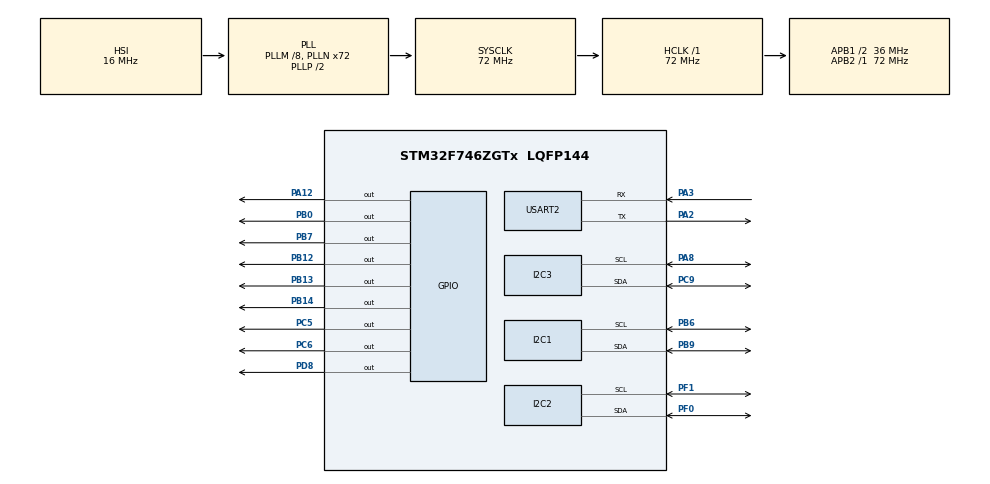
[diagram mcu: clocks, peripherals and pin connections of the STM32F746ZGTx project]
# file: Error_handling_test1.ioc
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I2C1.Timing=0x00808CD2
I2C2.Timing=0x00808CD2
I2C3.Timing=0x00808CD2
Mcu.Family=STM32F7
Mcu.Name=STM32F746ZGTx
Mcu.Package=LQFP144
NVIC.I2C1_ER_IRQn=true\:0\:0\:false\:false\:true\:true\:true
NVIC.I2C1_EV_IRQn=true\:0\:0\:false\:false\:true\:true\:true
NVIC.I2C2_ER_IRQn=true\:0\:0\:false\:false\:true\:true\:true
NVIC.I2C2_EV_IRQn=true\:0\:0\:false\:false\:true\:true\:true
NVIC.I2C3_ER_IRQn=true\:0\:0\:false\:false\:true\:true\:true
NVIC.I2C3_EV_IRQn=true\:0\:0\:false\:false\:true\:true\:true
NVIC.PriorityGroup=NVIC_PRIORITYGROUP_4
NVIC.TIM2_IRQn=true\:2\:0\:true\:false\:true\:true\:true
NVIC.TIM3_IRQn=true\:1\:0\:true\:false\:true\:true\:true
NVIC.USART2_IRQn=true\:0\:0\:false\:false\:true\:true\:true
PA12.Signal=GPIO_Output
PA13.Mode=Serial_Wire
PA13.Signal=SYS_JTMS-SWDIO
PA14.Mode=Serial_Wire
PA14.Signal=SYS_JTCK-SWCLK
PA2.Mode=Asynchronous
PA2.Signal=USART2_TX
PA3.Mode=Asynchronous
PA3.Signal=USART2_RX
PA8.Mode=I2C
PA8.Signal=I2C3_SCL
PB0.Signal=GPIO_Output
PB12.Signal=GPIO_Output
PB13.Signal=GPIO_Output
PB14.Signal=GPIO_Output
PB6.GPIO_Pu=GPIO_PULLUP
PB6.Mode=I2C
PB6.Signal=I2C1_SCL
PB7.Signal=GPIO_Output
PB9.GPIO_Pu=GPIO_PULLUP
PB9.Mode=I2C
PB9.Signal=I2C1_SDA
PC5.Signal=GPIO_Output
PC6.Signal=GPIO_Output
PC9.Mode=I2C
PC9.Signal=I2C3_SDA
PD8.Signal=GPIO_Output
PF0.Mode=I2C
PF0.Signal=I2C2_SDA
PF1.Mode=I2C
PF1.Signal=I2C2_SCL
ProjectManager.HeapSize=0x200
ProjectManager.StackSize=0x400
ProjectManager.TargetToolchain=STM32CubeIDE
RCC.48MHZClocksFreq_Value=24000000
RCC.AHBFreq_Value=72000000
RCC.APB1CLKDivider=RCC_HCLK_DIV2
RCC.APB1Freq_Value=36000000
RCC.APB1TimFreq_Value=72000000
RCC.APB2Freq_Value=72000000
RCC.APB2TimFreq_Value=72000000
RCC.CortexFreq_Value=72000000
RCC.HCLKFreq_Value=72000000
RCC.HSE_VALUE=8000000
RCC.HSI_VALUE=16000000
RCC.LSE_VALUE=32768
RCC.PLLM=8
RCC.PLLMUL=RCC_PLL_MUL9
RCC.PLLN=72
RCC.PLLQ=3
RCC.PRESCALERUSB=RCC_USBCLKSOURCE_PLL_DIV1_5
RCC.SYSCLKFreq_VALUE=72000000
RCC.SYSCLKSource=RCC_SYSCLKSOURCE_PLLCLK
RCC.SYSCLKSourceVirtual=RCC_SYSCLKSOURCE_PLLCLK
RCC.USBFreq_Value=48000000
RCC.VCOOutputFreq_Value=144000000
TIM2.Period=1000-1
TIM2.Prescaler=7200-1
TIM3.Period=100-1
TIM3.Prescaler=7200-1
TIM4.Prescaler=72-1
USART2.VirtualMode-Asynchronous=VM_ASYNC
VP_TIM2_VS_ClockSourceINT.Mode=Internal
VP_TIM3_VS_ClockSourceINT.Mode=Internal
VP_TIM4_VS_ClockSourceINT.Mode=Internal
board=NUCLEO-F746ZG

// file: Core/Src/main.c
/* USER CODE BEGIN Header */
/**
 ******************************************************************************
 * @file           : main.c
 * @brief          : Main program body
 ******************************************************************************
 * @attention
 *
 * <h2><center>&copy; Copyright (c) 2021 STMicroelectronics.
 * All rights reserved.</center></h2>
 *
 * This software component is licensed by ST under BSD 3-Clause license,
 * the "License"; You may not use this file except in compliance with the
 * License. You may obtain a copy of the License at:
 *                        opensource.org/licenses/BSD-3-Clause
 *
 ******************************************************************************
 */
/* USER CODE END Header */
#include "main.h"

/* USER CODE BEGIN Includes */
#include "stdbool.h"
#include "stdio.h"
#include "timer_delay.h"
#include "bat1_asoc.h"
#include "Handle_Gpio_pins.h"
#include "Timer_function.h"
#include"Specific_parameters_main_BAT1.h"
#include "Battery1_Maintenance_General_Info.h"
#include "Battery1_Maintenance_Specific_Info.h"
#include "Bat1_Update_Info_during_Maintenance.h"
#include <string.h>
#include "Bat1_Maint_SPCI_RTE.h"
#include "SubStatemachine_bat1_Maintenance.h"
#include "Commands_from_Raspi_To_STM32.h"
#include <Results_Auto_Test_Bat1_Maintenance.h>

#include "bat2_asoc.h"
#include "Battery2_Maintenance_General_Info.h"
#include"Specific_parameters_main_BAT2.h"
#include <Results_Auto_Test_Bat2_Maintenance.h>
#include "Bat2_Update_Info_during_Maintenance.h"
#include "SubStatemachine_bat2_Maintenance.h"

#include "bat3_asoc.h"
#include "Battery3_Maintenance_General_Info.h"
#include"Specific_parameters_main_BAT3.h"
#include <Results_Auto_Test_Bat3_Maintenance.h>
#include "Bat3_Update_Info_during_Maintenance.h"
#include "SubStatemachine_bat3_Maintenance.h"
/* USER CODE END Includes */

I2C_HandleTypeDef hi2c1;
I2C_HandleTypeDef hi2c2;
I2C_HandleTypeDef hi2c3;

TIM_HandleTypeDef htim2;
TIM_HandleTypeDef htim3;
TIM_HandleTypeDef htim4;

UART_HandleTypeDef huart2;

/* USER CODE BEGIN PV */

/////////////////////// Maintenance cycle BAT 1 definitions////////////////////////////////////////////

bool _bat1timerfunc = false;		     // Flag to start and stop the 15 min wait function
bool _bat1_15min_wait_over = false;  		// To indicate 15 min delay is over
uint16_t _bat1_counter_var = 0;				//   Variable as a counter
int8_t bat1_state=0;  						// Indicates the current state in Maintenance cycle
int8_t *BAT1_MAINT_STATE;

uint16_t BAT_1_ASOC_MAINTENANCE;
uint16_t BAT1_VOLTAGE_MAINTENANCE;

bool bat1charge = false;				// Flag to start and stop charging of the battery
bool bat1discharge = false;				// Flag to start and stop discharging of the battery

bool state1guard = false;
bool state2guard = false;
bool state3guard = false;
bool state4guard = false;
bool state5guard = false;
bool state6guard = false;
bool state7guard = false;
bool state8guard = false;

bool Autotestflag = false;				// Flag to start automatic testing of the maintenance cycle

uint8_t rx_buffer[14];					// Receives command from Pi

bool BAT_1_MAINTENANCE_FLAG = false;  				// Flag for battery 1 to enter the maintenance process
bool BAT_1_MAINTENANCE_ENTERED_GUARD_FLAG = false;

bool BAT_1_MAINT_GENERAL_INFO_FLAG = false;
bool BAT_1_MAINT_GENERAL_INFO_GUARD_FLAG = false;    // Flag to display General Info only once

bool Bat_1_MAINT_SPECIFIC_PARA_GUARD_FLAG = false;   // Flag to compare specific Info only once

uint8_t Bat1_Current_Mode_in_Maint = 0;      // 0 - Bat 1 is in running mode
// 1 - Bat 1 is in pause mode
// 2- Bat1 is in stop mode

// Flags to update the general information of battery 1 in Maintenance Use Case

uint16_t bat1_geninfo_cycle_counter = 0;
uint16_t bat1_geninfo_asoc_counter = 0;
uint16_t bat1_geninfo_remainingcapacity_counter = 0;
uint16_t bat1_geninfo_voltage_counter = 0;
uint16_t bat1_geninfo_temperature_counter = 0;
uint16_t bat1_geninfo_batterystatus_counter = 0;
uint16_t bat1_geninfo_current_counter=0;

bool bat1_geninfo_cycle_flag = false;
bool bat1_geninfo_asoc_flag = false;
bool bat1_geninfo_remainingcapacity_flag = false;
bool bat1_geninfo_voltage_flag = false;
bool bat1_geninfo_temperature_flag = false;
bool bat1_geninfo_batterystatus_flag = false;
bool bat1_geninfo_current_flag=false;

bool bat1_specific_info_rte_flag=true;

bool connect_flag=true;
bool update_maintenance_info_flag=false;

uint8_t tx_init[14];

// Flags to update the general information of battery in Maintenance Use Case

////////////////////////////////// Maintenance cycle BAT 1 definitions - End//////////////////////////////////////

/////////////////////// Maintenance cycle BAT 2 definitions - Start////////////////////////////////////////////

bool _bat2timerfunc = false;		     // Flag to start and stop the 15 min wait function
bool _bat2_15min_wait_over = false;  		// To indicate 15 min delay is over
uint16_t _bat2_counter_var = 0;				//   Variable as a counter
int8_t bat2_state=0;  						// Indicates the current state in Maintenance cycle
int8_t *BAT2_MAINT_STATE;

uint16_t BAT_2_ASOC_MAINTENANCE;
uint16_t BAT2_VOLTAGE_MAINTENANCE;

bool bat2charge = false;				// Flag to start and stop charging of the battery
bool bat2discharge = false;				// Flag to start and stop discharging of the battery

bool bat2_maint_state1guard = false;
bool bat2_maint_state2guard = false;
bool bat2_maint_state3guard = false;
bool bat2_maint_state4guard = false;
bool bat2_maint_state5guard = false;
bool bat2_maint_state6guard = false;
bool bat2_maint_state7guard = false;
bool bat2_maint_state8guard = false;

bool Bat2_Maint_Autotestflag = false;

bool BAT_2_MAINTENANCE_FLAG = false;  				// Flag for battery 1 to enter the maintenance process
bool BAT_2_MAINTENANCE_ENTERED_GUARD_FLAG = false;

bool BAT_2_MAINT_GENERAL_INFO_FLAG = false;
bool BAT_2_MAINT_GENERAL_INFO_GUARD_FLAG = false;    // Flag to display General Info only once

bool Bat_2_MAINT_SPECIFIC_PARA_GUARD_FLAG = false;   // Flag to compare specific Info only once

uint16_t bat2_geninfo_cycle_counter = 0;
uint16_t bat2_geninfo_asoc_counter = 0;
uint16_t bat2_geninfo_remainingcapacity_counter = 0;
uint16_t bat2_geninfo_voltage_counter = 0;
uint16_t bat2_geninfo_temperature_counter = 0;
uint16_t bat2_geninfo_batterystatus_counter = 0;
uint16_t bat2_geninfo_current_counter=0;

bool bat2_geninfo_cycle_flag = false;
bool bat2_geninfo_asoc_flag = false;
bool bat2_geninfo_remainingcapacity_flag = false;
bool bat2_geninfo_voltage_flag = false;
bool bat2_geninfo_temperature_flag = false;
bool bat2_geninfo_batterystatus_flag = false;
bool bat2_geninfo_current_flag=false;

bool bat2_specific_info_rte_flag=true;

bool bat2_update_maintenance_info_flag=false;

/////////////////////// Maintenance cycle BAT 2 definitions - END////////////////////////////////////////////

/////////////////////// Maintenance cycle BAT 3 definitions - Start////////////////////////////////////////////

bool _bat3timerfunc = false;		     // Flag to start and stop the 15 min wait function
bool _bat3_15min_wait_over = false;  		// To indicate 15 min delay is over
uint16_t _bat3_counter_var = 0;				//   Variable as a counter
int8_t bat3_state=0;  						// Indicates the current state in Maintenance cycle
int8_t *BAT3_MAINT_STATE;

uint16_t BAT_3_ASOC_MAINTENANCE;
uint16_t BAT3_VOLTAGE_MAINTENANCE;

bool bat3charge = false;				// Flag to start and stop charging of the battery
bool bat3discharge = false;				// Flag to start and stop discharging of the battery

bool bat3_maint_state1guard = false;
bool bat3_maint_state2guard = false;
bool bat3_maint_state3guard = false;
bool bat3_maint_state4guard = false;
bool bat3_maint_state5guard = false;
bool bat3_maint_state6guard = false;
bool bat3_maint_state7guard = false;
bool bat3_maint_state8guard = false;

bool Bat3_Maint_Autotestflag = false;

bool BAT_3_MAINTENANCE_FLAG = false;  				// Flag for battery 1 to enter the maintenance process
bool BAT_3_MAINTENANCE_ENTERED_GUARD_FLAG = false;

bool BAT_3_MAINT_GENERAL_INFO_FLAG = false;
bool BAT_3_MAINT_GENERAL_INFO_GUARD_FLAG = false;    // Flag to display General Info only once

bool Bat_3_MAINT_SPECIFIC_PARA_GUARD_FLAG = false;   // Flag to compare specific Info only once

uint16_t bat3_geninfo_cycle_counter = 0;
uint16_t bat3_geninfo_asoc_counter = 0;
uint16_t bat3_geninfo_remainingcapacity_counter = 0;
uint16_t bat3_geninfo_voltage_counter = 0;
uint16_t bat3_geninfo_temperature_counter = 0;
uint16_t bat3_geninfo_batterystatus_counter = 0;
uint16_t bat3_geninfo_current_counter=0;

bool bat3_geninfo_cycle_flag = false;
bool bat3_geninfo_asoc_flag = false;
bool bat3_geninfo_remainingcapacity_flag = false;
bool bat3_geninfo_voltage_flag = false;
bool bat3_geninfo_temperature_flag = false;
bool bat3_geninfo_batterystatus_flag = false;
bool bat3_geninfo_current_flag=false;

bool bat3_specific_info_rte_flag=true;

bool bat3_update_maintenance_info_flag=false;

/////////////////////// Maintenance cycle BAT 3 definitions - End////////////////////////////////////////////
/* USER CODE END PV */

void SystemClock_Config(void);
static void MX_GPIO_Init(void);
static void MX_I2C1_Init(void);
static void MX_TIM3_Init(void);
static void MX_TIM4_Init(void);
static void MX_USART2_UART_Init(void);
static void MX_TIM2_Init(void);
static void MX_I2C2_Init(void);
static void MX_I2C3_Init(void);

/* USER CODE BEGIN 0 */
int _write(int file, char *ptr, int len)
{
	/* Implement your write code here, this is used by puts and printf for example */
	int i=0;
	for(i=0 ; i<len ; i++)
		ITM_SendChar((*ptr++));
	return len;
}
/* USER CODE END 0 */

int main(void)
{

  /* MCU Configuration--------------------------------------------------------*/

  /* Reset of all peripherals, Initializes the Flash interface and the Systick. */
  HAL_Init();

  /* Configure the system clock */
  SystemClock_Config();

  /* Initialize all configured peripherals */
  MX_GPIO_Init();
  MX_I2C1_Init();
  MX_TIM3_Init();
  MX_TIM4_Init();
  MX_USART2_UART_Init();
  MX_TIM2_Init();
  MX_I2C2_Init();
  MX_I2C3_Init();
  /* USER CODE BEGIN 2 */
	HAL_TIM_Base_Start(&htim4);        // Timer 4 for providing delay
	HAL_TIM_Base_Start_IT(&htim3);	   // Timer 3 for waiting purpose in the maintenance case
	HAL_TIM_Base_Start_IT(&htim2);	   // Timer 2 to update the maintenance use case parameters periodically

	if(HAL_I2C_IsDeviceReady(&hi2c1,0x16, 5, 10)==HAL_OK)
	{

		HAL_GPIO_WritePin(GPIOB, GPIO_PIN_7, GPIO_PIN_SET);

	}

	if(HAL_I2C_IsDeviceReady(&hi2c2,0x16, 5, 10)==HAL_OK)
	{

		HAL_GPIO_WritePin(GPIOB, GPIO_PIN_14, GPIO_PIN_SET);

	}

	if(HAL_I2C_IsDeviceReady(&hi2c3,0x16, 5, 10)==HAL_OK)
	{

		HAL_GPIO_WritePin(GPIOB, GPIO_PIN_0, GPIO_PIN_SET);

	}

	__HAL_UART_ENABLE_IT(&huart2,UART_IT_RXNE);

	BAT1_MAINT_STATE = &bat1_state;
	BAT2_MAINT_STATE = &bat2_state;
	BAT3_MAINT_STATE = &bat3_state;

//	Transmit_Bat2_Maintenance_General_Info_to_Raspi();
//	Read_and_Compare_Specific_para_Bat2_STM_to_Pi();
//	Read_bat3_maint_Run_time_to_empty_start_of_discharge();
//	Read_bat3_maint_Run_time_to_empty_end_of_discharge();
//	Read_Bat3_Maint_autotest_result_first_80_percent();
//	Read_Bat3_Maint_autotest_result_middle_10_percent();
//	Read_Bat3_Maint_autotest_result_last_80_percent();

//Transmit_Bat3_Maintenance_General_Info_to_Raspi();
//Read_and_Compare_Specific_para_Bat3_STM_to_Pi();
//Read_bat3_maint_Run_time_to_empty_start_of_discharge();
//Read_bat3_maint_Run_time_to_empty_end_of_discharge();
//Read_Bat1_Maint_autotest_result_first_80_percent();
//Read_Bat1_Maint_autotest_result_middle_10_percent();
//Read_Bat1_Maint_autotest_result_last_80_percent();
//Transmit_Bat3_Maintenance_General_Info_to_Raspi();

//	Transmit_Bat1_Maintenance_General_Info_to_Raspi();

//	Read_and_Compare_Specific_para_Bat1_STM_to_Pi();

  /* USER CODE END 2 */

  /* Infinite loop */
  /* USER CODE BEGIN WHILE */
	while (1)
	{
		connect_to_Pi();
//		connect_to_Pi2();
//		substatemachine_battery1_maintenance(); // This function Works
//		substatemachine_battery2_maintenance(); // This function Works
//		substatemachine_battery3_maintenance();

	}
}

    /* USER CODE END WHILE */

void SystemClock_Config(void)
{
  RCC_OscInitTypeDef RCC_OscInitStruct = {0};
  RCC_ClkInitTypeDef RCC_ClkInitStruct = {0};
  RCC_PeriphCLKInitTypeDef PeriphClkInitStruct = {0};

  /** Configure the main internal regulator output voltage
  */
  __HAL_RCC_PWR_CLK_ENABLE();
  __HAL_PWR_VOLTAGESCALING_CONFIG(PWR_REGULATOR_VOLTAGE_SCALE3);
  /** Initializes the RCC Oscillators according to the specified parameters
  * in the RCC_OscInitTypeDef structure.
  */
  RCC_OscInitStruct.OscillatorType = RCC_OSCILLATORTYPE_HSI;
  RCC_OscInitStruct.HSIState = RCC_HSI_ON;
  RCC_OscInitStruct.HSICalibrationValue = RCC_HSICALIBRATION_DEFAULT;
  RCC_OscInitStruct.PLL.PLLState = RCC_PLL_ON;
  RCC_OscInitStruct.PLL.PLLSource = RCC_PLLSOURCE_HSI;
  RCC_OscInitStruct.PLL.PLLM = 8;
  RCC_OscInitStruct.PLL.PLLN = 72;
  RCC_OscInitStruct.PLL.PLLP = RCC_PLLP_DIV2;
  RCC_OscInitStruct.PLL.PLLQ = 3;
  if (HAL_RCC_OscConfig(&RCC_OscInitStruct) != HAL_OK)
  {
    Error_Handler();
  }
  /** Initializes the CPU, AHB and APB buses clocks
  */
  RCC_ClkInitStruct.ClockType = RCC_CLOCKTYPE_HCLK|RCC_CLOCKTYPE_SYSCLK
                              |RCC_CLOCKTYPE_PCLK1|RCC_CLOCKTYPE_PCLK2;
  RCC_ClkInitStruct.SYSCLKSource = RCC_SYSCLKSOURCE_PLLCLK;
  RCC_ClkInitStruct.AHBCLKDivider = RCC_SYSCLK_DIV1;
  RCC_ClkInitStruct.APB1CLKDivider = RCC_HCLK_DIV2;
  RCC_ClkInitStruct.APB2CLKDivider = RCC_HCLK_DIV1;

  if (HAL_RCC_ClockConfig(&RCC_ClkInitStruct, FLASH_LATENCY_2) != HAL_OK)
  {
    Error_Handler();
  }
  PeriphClkInitStruct.PeriphClockSelection = RCC_PERIPHCLK_USART2|RCC_PERIPHCLK_I2C1
                              |RCC_PERIPHCLK_I2C2|RCC_PERIPHCLK_I2C3;
  PeriphClkInitStruct.Usart2ClockSelection = RCC_USART2CLKSOURCE_PCLK1;
  PeriphClkInitStruct.I2c1ClockSelection = RCC_I2C1CLKSOURCE_PCLK1;
  PeriphClkInitStruct.I2c2ClockSelection = RCC_I2C2CLKSOURCE_PCLK1;
  PeriphClkInitStruct.I2c3ClockSelection = RCC_I2C3CLKSOURCE_PCLK1;
  if (HAL_RCCEx_PeriphCLKConfig(&PeriphClkInitStruct) != HAL_OK)
  {
    Error_Handler();
  }
}

static void MX_I2C1_Init(void)
{

  hi2c1.Instance = I2C1;
  hi2c1.Init.Timing = 0x00808CD2;
  hi2c1.Init.OwnAddress1 = 0;
  hi2c1.Init.AddressingMode = I2C_ADDRESSINGMODE_7BIT;
  hi2c1.Init.DualAddressMode = I2C_DUALADDRESS_DISABLE;
  hi2c1.Init.OwnAddress2 = 0;
  hi2c1.Init.OwnAddress2Masks = I2C_OA2_NOMASK;
  hi2c1.Init.GeneralCallMode = I2C_GENERALCALL_DISABLE;
  hi2c1.Init.NoStretchMode = I2C_NOSTRETCH_DISABLE;
  if (HAL_I2C_Init(&hi2c1) != HAL_OK)
  {
    Error_Handler();
  }
  /** Configure Analogue filter
  */
  if (HAL_I2CEx_ConfigAnalogFilter(&hi2c1, I2C_ANALOGFILTER_ENABLE) != HAL_OK)
  {
    Error_Handler();
  }
  /** Configure Digital filter
  */
  if (HAL_I2CEx_ConfigDigitalFilter(&hi2c1, 0) != HAL_OK)
  {
    Error_Handler();
  }

}

static void MX_I2C2_Init(void)
{

  hi2c2.Instance = I2C2;
  hi2c2.Init.Timing = 0x00808CD2;
  hi2c2.Init.OwnAddress1 = 0;
  hi2c2.Init.AddressingMode = I2C_ADDRESSINGMODE_7BIT;
  hi2c2.Init.DualAddressMode = I2C_DUALADDRESS_DISABLE;
  hi2c2.Init.OwnAddress2 = 0;
  hi2c2.Init.OwnAddress2Masks = I2C_OA2_NOMASK;
  hi2c2.Init.GeneralCallMode = I2C_GENERALCALL_DISABLE;
  hi2c2.Init.NoStretchMode = I2C_NOSTRETCH_DISABLE;
  if (HAL_I2C_Init(&hi2c2) != HAL_OK)
  {
    Error_Handler();
  }
  /** Configure Analogue filter
  */
  if (HAL_I2CEx_ConfigAnalogFilter(&hi2c2, I2C_ANALOGFILTER_ENABLE) != HAL_OK)
  {
    Error_Handler();
  }
  /** Configure Digital filter
  */
  if (HAL_I2CEx_ConfigDigitalFilter(&hi2c2, 0) != HAL_OK)
  {
    Error_Handler();
  }

}

static void MX_I2C3_Init(void)
{

  hi2c3.Instance = I2C3;
  hi2c3.Init.Timing = 0x00808CD2;
  hi2c3.Init.OwnAddress1 = 0;
  hi2c3.Init.AddressingMode = I2C_ADDRESSINGMODE_7BIT;
  hi2c3.Init.DualAddressMode = I2C_DUALADDRESS_DISABLE;
  hi2c3.Init.OwnAddress2 = 0;
  hi2c3.Init.OwnAddress2Masks = I2C_OA2_NOMASK;
  hi2c3.Init.GeneralCallMode = I2C_GENERALCALL_DISABLE;
  hi2c3.Init.NoStretchMode = I2C_NOSTRETCH_DISABLE;
  if (HAL_I2C_Init(&hi2c3) != HAL_OK)
  {
    Error_Handler();
  }
  /** Configure Analogue filter
  */
  if (HAL_I2CEx_ConfigAnalogFilter(&hi2c3, I2C_ANALOGFILTER_ENABLE) != HAL_OK)
  {
    Error_Handler();
  }
  /** Configure Digital filter
  */
  if (HAL_I2CEx_ConfigDigitalFilter(&hi2c3, 0) != HAL_OK)
  {
    Error_Handler();
  }

}

static void MX_TIM2_Init(void)
{

  TIM_ClockConfigTypeDef sClockSourceConfig = {0};
  TIM_MasterConfigTypeDef sMasterConfig = {0};

  htim2.Instance = TIM2;
  htim2.Init.Prescaler = 7200-1;
  htim2.Init.CounterMode = TIM_COUNTERMODE_UP;
  htim2.Init.Period = 1000-1;
  htim2.Init.ClockDivision = TIM_CLOCKDIVISION_DIV1;
  htim2.Init.AutoReloadPreload = TIM_AUTORELOAD_PRELOAD_DISABLE;
  if (HAL_TIM_Base_Init(&htim2) != HAL_OK)
  {
    Error_Handler();
  }
  sClockSourceConfig.ClockSource = TIM_CLOCKSOURCE_INTERNAL;
  if (HAL_TIM_ConfigClockSource(&htim2, &sClockSourceConfig) != HAL_OK)
  {
    Error_Handler();
  }
  sMasterConfig.MasterOutputTrigger = TIM_TRGO_RESET;
  sMasterConfig.MasterSlaveMode = TIM_MASTERSLAVEMODE_DISABLE;
  if (HAL_TIMEx_MasterConfigSynchronization(&htim2, &sMasterConfig) != HAL_OK)
  {
    Error_Handler();
  }

}

static void MX_TIM3_Init(void)
{

  TIM_ClockConfigTypeDef sClockSourceConfig = {0};
  TIM_MasterConfigTypeDef sMasterConfig = {0};

  htim3.Instance = TIM3;
  htim3.Init.Prescaler = 7200-1;
  htim3.Init.CounterMode = TIM_COUNTERMODE_UP;
  htim3.Init.Period = 100-1;
  htim3.Init.ClockDivision = TIM_CLOCKDIVISION_DIV1;
  htim3.Init.AutoReloadPreload = TIM_AUTORELOAD_PRELOAD_DISABLE;
  if (HAL_TIM_Base_Init(&htim3) != HAL_OK)
  {
    Error_Handler();
  }
  sClockSourceConfig.ClockSource = TIM_CLOCKSOURCE_INTERNAL;
  if (HAL_TIM_ConfigClockSource(&htim3, &sClockSourceConfig) != HAL_OK)
  {
    Error_Handler();
  }
  sMasterConfig.MasterOutputTrigger = TIM_TRGO_RESET;
  sMasterConfig.MasterSlaveMode = TIM_MASTERSLAVEMODE_DISABLE;
  if (HAL_TIMEx_MasterConfigSynchronization(&htim3, &sMasterConfig) != HAL_OK)
  {
    Error_Handler();
  }

}

static void MX_TIM4_Init(void)
{

  TIM_ClockConfigTypeDef sClockSourceConfig = {0};
  TIM_MasterConfigTypeDef sMasterConfig = {0};

  htim4.Instance = TIM4;
  htim4.Init.Prescaler = 72-1;
  htim4.Init.CounterMode = TIM_COUNTERMODE_UP;
  htim4.Init.Period = 65535;
  htim4.Init.ClockDivision = TIM_CLOCKDIVISION_DIV1;
  htim4.Init.AutoReloadPreload = TIM_AUTORELOAD_PRELOAD_DISABLE;
  if (HAL_TIM_Base_Init(&htim4) != HAL_OK)
  {
    Error_Handler();
  }
  sClockSourceConfig.ClockSource = TIM_CLOCKSOURCE_INTERNAL;
  if (HAL_TIM_ConfigClockSource(&htim4, &sClockSourceConfig) != HAL_OK)
  {
    Error_Handler();
  }
  sMasterConfig.MasterOutputTrigger = TIM_TRGO_RESET;
  sMasterConfig.MasterSlaveMode = TIM_MASTERSLAVEMODE_DISABLE;
  if (HAL_TIMEx_MasterConfigSynchronization(&htim4, &sMasterConfig) != HAL_OK)
  {
    Error_Handler();
  }

}

static void MX_USART2_UART_Init(void)
{

  huart2.Instance = USART2;
  huart2.Init.BaudRate = 115200;
  huart2.Init.WordLength = UART_WORDLENGTH_8B;
  huart2.Init.StopBits = UART_STOPBITS_1;
  huart2.Init.Parity = UART_PARITY_NONE;
  huart2.Init.Mode = UART_MODE_TX_RX;
  huart2.Init.HwFlowCtl = UART_HWCONTROL_NONE;
  huart2.Init.OverSampling = UART_OVERSAMPLING_16;
  huart2.Init.OneBitSampling = UART_ONE_BIT_SAMPLE_DISABLE;
  huart2.AdvancedInit.AdvFeatureInit = UART_ADVFEATURE_NO_INIT;
  if (HAL_UART_Init(&huart2) != HAL_OK)
  {
    Error_Handler();
  }

}

static void MX_GPIO_Init(void)
{
  GPIO_InitTypeDef GPIO_InitStruct = {0};

  /* GPIO Ports Clock Enable */
  __HAL_RCC_GPIOF_CLK_ENABLE();
  __HAL_RCC_GPIOA_CLK_ENABLE();
  __HAL_RCC_GPIOC_CLK_ENABLE();
  __HAL_RCC_GPIOB_CLK_ENABLE();
  __HAL_RCC_GPIOD_CLK_ENABLE();

  /*Configure GPIO pin Output Level */
  HAL_GPIO_WritePin(GPIOC, GPIO_PIN_5|GPIO_PIN_6, GPIO_PIN_RESET);

  /*Configure GPIO pin Output Level */
  HAL_GPIO_WritePin(GPIOB, GPIO_PIN_0|GPIO_PIN_12|GPIO_PIN_13|GPIO_PIN_14
                          |GPIO_PIN_7, GPIO_PIN_RESET);

  /*Configure GPIO pin Output Level */
  HAL_GPIO_WritePin(GPIOD, GPIO_PIN_8, GPIO_PIN_RESET);

  /*Configure GPIO pin Output Level */
  HAL_GPIO_WritePin(GPIOA, GPIO_PIN_12, GPIO_PIN_RESET);

  /*Configure GPIO pins : PC5 PC6 */
  GPIO_InitStruct.Pin = GPIO_PIN_5|GPIO_PIN_6;
  GPIO_InitStruct.Mode = GPIO_MODE_OUTPUT_PP;
  GPIO_InitStruct.Pull = GPIO_NOPULL;
  GPIO_InitStruct.Speed = GPIO_SPEED_FREQ_LOW;
  HAL_GPIO_Init(GPIOC, &GPIO_InitStruct);

  /*Configure GPIO pins : PB0 PB12 PB13 PB14
                           PB7 */
  GPIO_InitStruct.Pin = GPIO_PIN_0|GPIO_PIN_12|GPIO_PIN_13|GPIO_PIN_14
                          |GPIO_PIN_7;
  GPIO_InitStruct.Mode = GPIO_MODE_OUTPUT_PP;
  GPIO_InitStruct.Pull = GPIO_NOPULL;
  GPIO_InitStruct.Speed = GPIO_SPEED_FREQ_LOW;
  HAL_GPIO_Init(GPIOB, &GPIO_InitStruct);

  /*Configure GPIO pin : PD8 */
  GPIO_InitStruct.Pin = GPIO_PIN_8;
  GPIO_InitStruct.Mode = GPIO_MODE_OUTPUT_PP;
  GPIO_InitStruct.Pull = GPIO_NOPULL;
  GPIO_InitStruct.Speed = GPIO_SPEED_FREQ_LOW;
  HAL_GPIO_Init(GPIOD, &GPIO_InitStruct);

  /*Configure GPIO pin : PA12 */
  GPIO_InitStruct.Pin = GPIO_PIN_12;
  GPIO_InitStruct.Mode = GPIO_MODE_OUTPUT_PP;
  GPIO_InitStruct.Pull = GPIO_NOPULL;
  GPIO_InitStruct.Speed = GPIO_SPEED_FREQ_LOW;
  HAL_GPIO_Init(GPIOA, &GPIO_InitStruct);

}

/* USER CODE BEGIN 4 */
void HAL_TIM_PeriodElapsedCallback(TIM_HandleTypeDef *htim)  // 16-bit TIM3 is used as an interrupt - every 10 ms
{
	if(htim==&htim3)
	{
		Timer_15min();

	}

	if(htim==&htim2)  // Configured as an interrupt - every 100 ms
	{

		update_periodic_flags_during_maintenance_bat1();
		update_periodic_flags_during_maintenance_bat2();
		update_periodic_flags_during_maintenance_bat3();

	}
}

void HAL_UART_RxCpltCallback(UART_HandleTypeDef *huart)
{
	/* Prevent unused argument(s) compilation warning */
	// UNUSED(huart);

	commands_from_pi_to_stm();

}
/* USER CODE END 4 */

void Error_Handler(void)
{
	__disable_irq();
	while (1)
	{
	}
}

/************************ (C) COPYRIGHT STMicroelectronics *****END OF FILE****/
